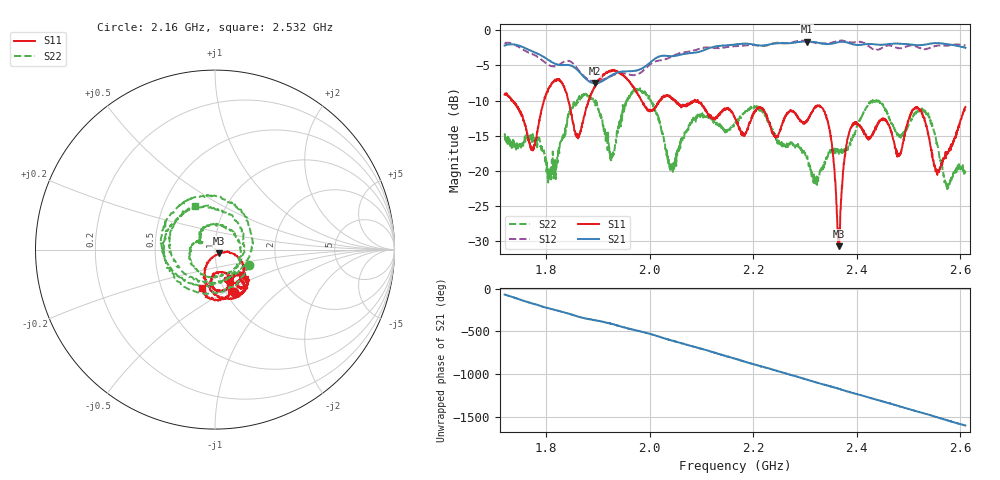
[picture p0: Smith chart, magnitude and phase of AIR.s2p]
#  HZ  S  RI  R  50.0
! Rohde & Schwarz ZVL
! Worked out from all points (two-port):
!   2001 points, 1.72 GHz to 2.61 GHz, reference 50 ohm
!   highest |S21| = -1.60 dB at 2.303 GHz (marker M1); lowest = -7.6 dB at 1.895 GHz (marker M2)
!   |S21| within 3 dB of the highest: start of sweep to 1.813 GHz; 2.001 GHz to end of sweep
!   lowest |S11| = -30.7 dB at 2.366 GHz (marker M3), VSWR 1.06, Z = 52 - j2.21 ohm
!   |S11| at or under -10 dB: 1.735 GHz to 1.796 GHz (60.76 MHz wide, 3.44 % of centre); 1.843 GHz to 1.882 GHz (38.9 MHz wide, 2.09 % of centre); 2.094 GHz to end of sweep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
!   |S22| runs from -22.6 to -8.2 dB; largest |S21 - S12| = 0.11
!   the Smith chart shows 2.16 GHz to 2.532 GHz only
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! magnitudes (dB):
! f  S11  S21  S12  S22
! 1.72 GHz  -9.1  -2.2  -1.8  -14.9
! 1.774 GHz  -17.0  -3.0  -3.4  -15.7
! 1.808 GHz  -8.0  -4.4  -5.0  -20.1
! 1.869 GHz  -13.6  -6.3  -6.2  -9.6
! 1.895 GHz  -8.0  -7.6  -7.2  -10.0
! 1.927 GHz  -5.8  -6.4  -6.5  -17.7
! 1.969 GHz  -8.1  -5.8  -6.4  -8.4
! 2.017 GHz  -10.5  -3.8  -4.3  -12.2
! 2.043 GHz  -9.6  -3.7  -3.7  -20.1
! 2.095 GHz  -10.3  -3.1  -2.7  -12.2
! 2.165 GHz  -12.5  -2.0  -2.3  -13.3
! 2.303 GHz  -12.8  -1.6  -1.5  -18.2
! 2.314 GHz  -11.7  -1.6  -1.7  -20.2
! 2.344 GHz  -13.1  -2.0  -1.8  -17.9
! 2.366 GHz  -30.7  -1.7  -1.5  -17.3
! 2.39 GHz  -13.7  -1.9  -1.7  -15.7
! 2.462 GHz  -13.4  -2.0  -2.1  -12.4
! 2.482 GHz  -17.9  -1.9  -2.5  -15.1
! 2.521 GHz  -11.2  -2.1  -2.5  -11.4
! 2.557 GHz  -20.0  -1.8  -2.2  -16.4
! 2.574 GHz  -17.4  -2.0  -2.2  -22.2
! 2.61 GHz  -10.9  -2.5  -2.2  -20.3
